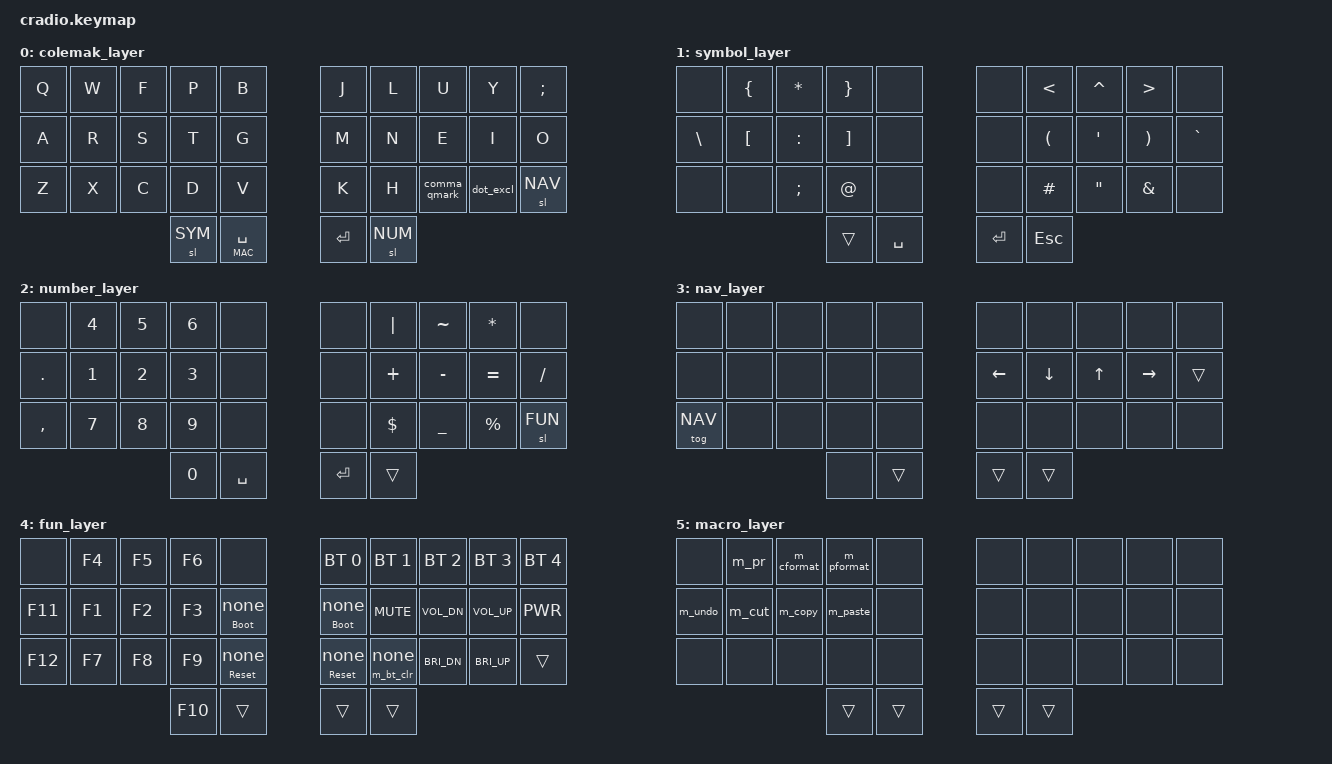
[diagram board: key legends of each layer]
/*
 * Copyright (c) 2020 The ZMK Contributors
 *
 * SPDX-License-Identifier: MIT
 */


#include <behaviors.dtsi>
#include <dt-bindings/zmk/keys.h>
#include <dt-bindings/zmk/bt.h>
#include <dt-bindings/zmk/outputs.h>
 
#define CMK 0
#define SYM 1
#define NUM 2
#define NAV 3
#define FUN 4
#define MAC 5

&caps_word {
   continue-list = <UNDERSCORE MINUS BACKSPACE>;
};

/ {
    combos {
        #include "combos.dtsi"    
    };

    behaviors {
        skq: sticky_key_quick_release {
            compatible = "zmk,behavior-sticky-key";
            label = "STICKY_KEY_QUICK_RELEASE";
            #binding-cells = <1>;
            bindings = <&kp>;
            release-after-ms = <1000>;
            quick-release;
        };
        hold_bootloader: hold_bootloader {
            compatible = "zmk,behavior-hold-tap";
            label = "HOLD_BOOTLOADER";
            #binding-cells = <2>;
            tapping-term-ms = <1000>;
            quick-tap-ms = <0>;
            flavor = "balanced";
            bindings = <&bootloader>, <&none>;
        };
        hold_reset: hold_reset {
            compatible = "zmk,behavior-hold-tap";
            label = "HOLD_RESET";
            #binding-cells = <2>;
            tapping-term-ms = <1000>;
            quick-tap-ms = <0>;
            flavor = "balanced";
            bindings = <&sys_reset>, <&none>;
        };
        hold_bt_clr: hold_bt_clr {
            compatible = "zmk,behavior-hold-tap";
            label = "HOLD_BT_CLR";
            #binding-cells = <2>;
            tapping-term-ms = <5000>;
            quick-tap-ms = <0>;
            flavor = "balanced";
            bindings = <&m_bt_clr>, <&none>;
        };
        comma_qmark: comma_qmark {
            compatible = "zmk,behavior-mod-morph";
            label = "COMMA_QMARK";
            #binding-cells = <0>;
            bindings = <&kp COMMA>, <&kp QMARK>;
            mods = <(MOD_LSFT)>;
        };
        dot_excl: dot_excl {
            compatible = "zmk,behavior-mod-morph";
            label = "DOT_EXCL";
            #binding-cells = <0>;
            bindings = <&kp DOT>, <&kp EXCL>;
            mods = <(MOD_LSFT)>;
        };
    };
    macros {
        ZMK_MACRO(m_bt_clr,
            wait-ms = <30>;
            tap-ms = <40>;
            bindings = <&bt BT_CLR>;
        )
        ZMK_MACRO(m_copy,
            wait-ms = <30>;
            tap-ms = <40>;
            bindings = <&macro_press &kp LCTRL>
                    , <&macro_tap &kp C>
                    , <&macro_release &kp LCTRL>;
        )
        ZMK_MACRO(m_paste,
            wait-ms = <30>;
            tap-ms = <40>;
            bindings = <&macro_press &kp LCTRL>
                    , <&macro_tap &kp V>
                    , <&macro_release &kp LCTRL>;
        )
        ZMK_MACRO(m_cut,
            wait-ms = <30>;
            tap-ms = <40>;
            bindings = <&macro_press &kp LCTRL>
                    , <&macro_tap &kp X>
                    , <&macro_release &kp LCTRL>;
        )
        ZMK_MACRO(m_undo,
            wait-ms = <30>;
            tap-ms = <40>;
            bindings = <&macro_press &kp LCTRL>
                    , <&macro_tap &kp Z>
                    , <&macro_release &kp LCTRL>;
        )
        ZMK_MACRO(m_cformat,
            wait-ms = <30>;
            tap-ms = <40>;
            bindings = <&macro_press &kp LCTRL &kp LALT>
                    , <&macro_tap &kp C>
                    , <&macro_release &kp LALT &kp LCTRL>;
        )
        ZMK_MACRO(m_pformat,
            wait-ms = <30>;
            tap-ms = <40>;
            bindings = <&macro_press &kp LCTRL &kp LALT>
                    , <&macro_tap &kp V>
                    , <&macro_release &kp LALT &kp LCTRL>;
        )
        ZMK_MACRO(m_pr,
            wait-ms = <150>;
            tap-ms = <40>;
            bindings = <&macro_press &kp LCTRL &kp LSHFT>
                    , <&macro_tap &kp UP>
                    , <&macro_release &kp LSHFT &kp LCTRL>
                    , <&macro_press &kp LCTRL>
                    , <&macro_tap &kp C>
                    , <&macro_release &kp LCTRL>
                    , <&macro_tap &kp RIGHT>
                    , <&macro_tap &kp ENTER>
                    , <&macro_press &kp LCTRL &kp LALT>
                    , <&macro_tap &kp V>
                    , <&macro_release &kp LALT &kp LCTRL>
                    , <&macro_press &kp LCTRL &kp LSHFT>
                    , <&macro_tap &kp V>
                    , <&macro_release &kp LSHFT &kp LCTRL>;
        )
    };
};

#define HOLD_BOOTLOADER &hold_bootloader 0 0
#define HOLD_RESET &hold_reset 0 0
#define HOLD_BT_CLR &hold_bt_clr 0 0

/*           34 Keys
╭──────────────╮ ╭──────────────╮
│ 0  1  2  3  4│ │ 5  6  7  8  9│
│10 11 12 13 14│ │15 16 17 18 19│
│20 21 22 23 24│ │25 26 27 28 29│
╰────────╮30 31│ │32 33╭────────╯
         ╰─────╯ ╰─────╯         */


/ {
        keymap {
                compatible = "zmk,keymap";
                colemak_layer {
// -----------------------------------------------------------------
// |  Q  |  W  |  F  |  P  |  B  | |  J  |  L  |  U  |  Y  |  ;  |
// |  A  |  R  |  S  |  T  |  G  | |  M  |  N  |  E  |  I  |  O  |
// |  Z  |  X  |  C  |  D  |  V  | |  K  |  H  |  ,  |  .  |-NAV-|
//                   |-SYM-| SPC | | RET |-NUM-|
                        bindings = <
   &kp Q &kp W &kp F &kp P &kp B &kp J &kp L   &kp U     &kp Y   &kp SEMI
   &kp A &kp R &kp S &kp T &kp G &kp M &kp N   &kp E     &kp I   &kp O
   &kp Z &kp X &kp C &kp D &kp V &kp K &kp H   &comma_qmark &dot_excl &sl NAV
                   &sl SYM &lt MAC SPACE &kp RET &sl NUM
                        >;
        };
        symbol_layer {
// -----------------------------------------------------------------
// |     |  {  |  *  |  }  |     | |     |  <  |  ^  |  >  |     |
// |  \  |  [  |  :  |  ]  |     | |     |  (  |  '  |  )  |  `  |
// |     |     |  ;  |  @  |     | |     |  #  |  "  |  &  |     |
//                   |_SYM_|     | | RET | ESC |
                        bindings = <
   &none  &kp LBRC &kp STAR &kp RBRC  &none &none &kp LT &kp CARET &kp GT &none
   &kp BSLH &kp LBKT &kp COLON &kp RBKT  &none &none &kp LPAR &kp SQT &kp RPAR &kp GRAVE
   &none  &none   &kp SEMI  &kp AT  &none &none &kp HASH &kp DQT   &kp AMPS   &none
                             &trans &kp SPACE &kp RET &kp ESC
                        >;
        };
        number_layer {
// -----------------------------------------------------------------
// |     |  4  |  5  |  6  |     | |     |  |  |  ~  |  *  |     |
// |  .  |  1  |  2  |  3  |     | |     |  +  |  -  |  =  |  /  |
// |  ,  |  7  |  8  |  9  |     | |     |  $  |  _  |  %  |-FUN-|
//                   |  0  | SPC | | RET |_NUM_|
                        bindings = <
   &none  &kp N4 &kp N5 &kp N6 &none &none &kp PIPE &kp TILDE &kp STAR  &none
   &kp DOT &kp N1 &kp N2 &kp N3 &none &none &kp PLUS  &kp MINUS &kp EQUAL &kp FSLH
   &kp COMMA  &kp N7 &kp N8 &kp N9 &none &none &kp DOLLAR &kp UNDER  &kp PRCNT    &sl FUN
                 &kp N0 &kp SPACE &kp RET  &trans
                        >;
        };
        nav_layer {
// -----------------------------------------------------------------
// |     |     |     |     |     | |     |     |     |     |     |
// |     |     |     |     |     | | LFT | DWN | UP  |RIGHT| DEL |
// |NAVLK|     |     |     |     | |     |     |     |     |_NAV_|
//                   |     | SPC | | RET |SCRLL|
                        bindings = <
   &none &none &none &none &none &none    &none     &none     &none     &none 
   &none &none &none &none &none &kp LEFT &kp DOWN  &kp UP    &kp RIGHT &trans  
   &tog NAV &none &none &none &none &none &none &none &none   &none 
                         &none &trans &trans &trans
                        >;
        };
        fun_layer {
// -----------------------------------------------------------------
// |     | F 4 | F 5 | F 6 |     | | BT0 | BT1 | BT2 | BT3 | BT4 |
// | F11 | F 1 | F 2 | F 3 |FLASH| |FLASH|VMUTE|VOLDN|VOLUP|POWER|
// | F12 | F 7 | F 8 | F 9 |RESET| |RESET|BTCLR|BRIDN|BRIUP|_FUN_|
//                   | F10 | SPC | | SFT |_NUM_|
                        bindings = <
   &none &kp F4 &kp F5 &kp F6 &none &bt BT_SEL 0 &bt BT_SEL 1 &bt BT_SEL 2 &bt BT_SEL 3 &bt BT_SEL 4
   &kp F11 &kp F1 &kp F2 &kp F3 HOLD_BOOTLOADER HOLD_BOOTLOADER &kp K_MUTE &kp C_VOL_DN &kp C_VOL_UP &kp K_PWR
   &kp F12 &kp F7 &kp F8 &kp F9  HOLD_RESET HOLD_RESET HOLD_BT_CLR &kp C_BRI_DN &kp C_BRI_UP &trans
                         &kp F10 &trans &trans &trans 
                        >;
        };
        macro_layer {
            bindings = <
        //╭──────────┬──────────┬──────────┬──────────┬──────────╮   ╭──────────┬──────────┬──────────┬──────────┬──────────╮
        //│          │          │          │          │          │   │          │          │          │          │          │
           &none      &m_pr      &m_cformat &m_pformat &none          &none      &none      &none      &none      &none
        //├──────────┼──────────┼──────────┼──────────┼──────────┤   ├──────────┼──────────┼──────────┼──────────┼──────────┤
        //│ Undo     │ Cut      │ Copy     │ Paste    │          │   │          │          │          │          │          │
           &m_undo    &m_cut     &m_copy    &m_paste   &none          &none      &none      &none      &none      &none
        //├──────────┼──────────┼──────────┼──────────┼──────────┤   ├──────────┼──────────┼──────────┼──────────┼──────────┤
        //│          │          │          │          │          │   │          │          │          │          │          │
           &none      &none      &none      &none      &none          &none      &none      &none      &none      &none
        //╰──────────┴──────────┴──────────┼──────────┼──────────┤   ├──────────┼──────────┼──────────┴──────────┴──────────╯
                                             &trans     &trans         &trans     &trans
        //                                 ╰──────────┴──────────╯   ╰──────────┴──────────╯
            >;
        };
    };
};
